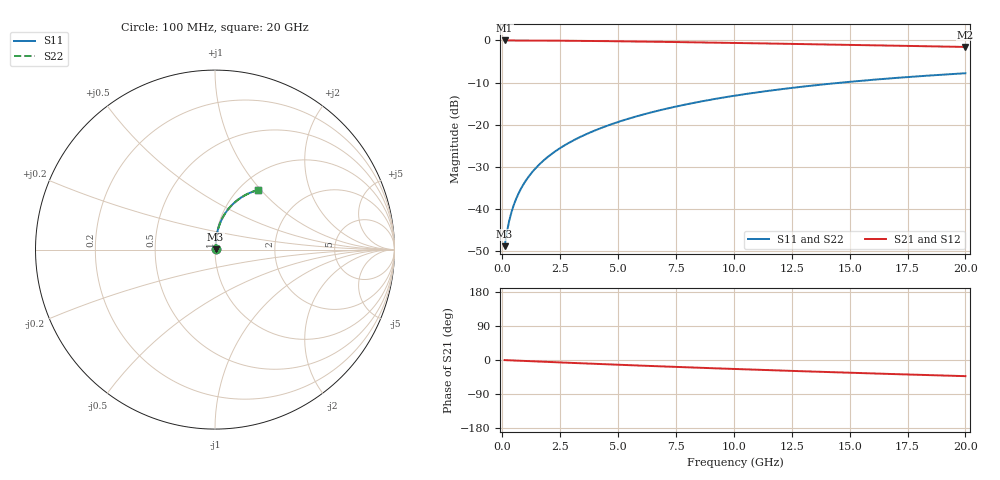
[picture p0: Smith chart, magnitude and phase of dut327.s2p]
! Touchstone file exported from HFSS 2024.1.0
!  File:  C:/UserFiles/LocalFiles/RDL_TSV_Batchsim/temp_RDL_bottom_327_1779611311.aedt
!  Generated:  04:31:08 PM May 24, 2026
!  Design:  RDL_bottom
!  Project:  temp_RDL_bottom_327_1779611311
!  Setup:  Setup1
!  Solution:  Sweep
! Variables:
!  dtsv = 10.80580581um
!  hbump = 3um
!  htsv = 93.84um
!  ldown = 566.96um
!  lrdl = 100um
!  p = 40
!  p1 = 57.34um
!  rhole = 1um
!  t = 450um
!  tdown = 3.49um
!  trdl = 3.915915916um
!  wdown = 21.79um
!  wrdl = 20um
# GHz S MA R 50.000000
! Terminal data exported
! Port[1] = RDL1_T1
! Port[2] = RDL1_T2
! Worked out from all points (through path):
!   200 points, 100 MHz to 20 GHz, reference 50 ohm
!   highest |S21| = -0.02 dB at 100 MHz (marker M1); lowest = -1.6 dB at 20 GHz (marker M2)
!   group delay of S21, straight-line fit = 5.88 ps
!   lowest |S11| = -48.8 dB at 100 MHz (marker M3), VSWR 1.01, Z = 50.3 + j0.227 ohm
!   |S11| at or under -10 dB: start of sweep to 14.69 GHz
!   |S22| runs from -48.8 to -7.8 dB; largest |S21 - S12| = 2.6e-15
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0.1  0.003626 38.6  0.9972 -0.3  0.9972 -0.3  0.003626 38.6
! Gamma 0 0 0 0
! Port Impedance 50 0 50 0
0.2  0.005354 56.4  0.997 -0.5  0.997 -0.5  0.005354 56.4
0.3  0.007283 64.8  0.9968 -0.8  0.9968 -0.8  0.007283 64.8
0.4  0.009255 69.6  0.9967 -1.1  0.9967 -1.1  0.009255 69.6
0.5  0.01124 72.7  0.9965 -1.3  0.9965 -1.3  0.01124 72.7
0.6  0.01325 75.0  0.9963 -1.6  0.9963 -1.6  0.01325 75.0
0.8  0.01729 78.0  0.996 -2.1  0.996 -2.1  0.01729 78.0
1.1  0.02343 80.5  0.9954 -2.9  0.9954 -2.9  0.02343 80.5
1.5  0.03172 82.2  0.9943 -3.9  0.9943 -3.9  0.03172 82.2
1.8  0.03801 82.9  0.9934 -4.6  0.9934 -4.6  0.03801 82.9
2.1  0.04433 83.3  0.9923 -5.4  0.9923 -5.4  0.04433 83.3
2.7  0.05712 83.6  0.9897 -6.9  0.9897 -6.9  0.05712 83.6
3.5  0.07443 83.4  0.9854 -8.9  0.9854 -8.9  0.07443 83.4
4.2  0.08982 82.9  0.9809 -10.6  0.9809 -10.6  0.08981 82.9
5  0.1076 82.0  0.9753 -12.5  0.9753 -12.5  0.1076 82.0
5.9  0.1279 80.7  0.9683 -14.6  0.9683 -14.6  0.1279 80.7
6.8  0.1482 79.3  0.9608 -16.7  0.9608 -16.7  0.1482 79.3
8.4  0.1844 76.5  0.9467 -20.2  0.9467 -20.2  0.1843 76.5
10.1  0.222 73.2  0.931 -23.9  0.931 -23.9  0.222 73.2
13.4  0.2912 66.7  0.8993 -30.5  0.8993 -30.5  0.2911 66.7
16.7  0.3531 60.4  0.8671 -36.8  0.8671 -36.8  0.3531 60.4
20  0.4072 54.4  0.8352 -42.6  0.8352 -42.6  0.4071 54.4
